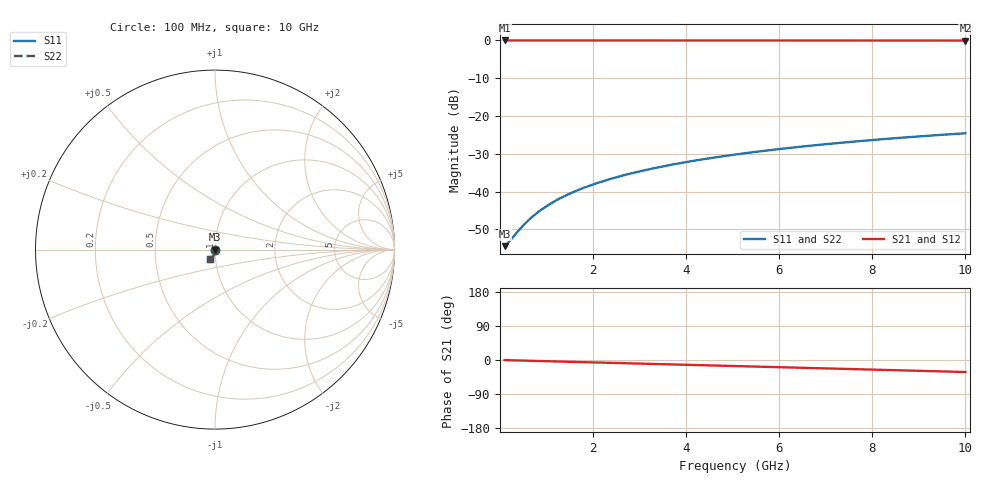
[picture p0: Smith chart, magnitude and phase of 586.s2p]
# Hz S RI R 50.00
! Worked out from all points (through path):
!   100 points, 100 MHz to 10 GHz, reference 50 ohm
!   highest |S21| = -0.02 dB at 100 MHz (marker M1); lowest = 0.0 dB at 10 GHz (marker M2)
!   group delay of S21, straight-line fit = 8.81 ps
!   lowest |S11| = -54.5 dB at 100 MHz (marker M3), VSWR 1.00, Z = 50.2 - j0.0626 ohm
!   |S11| at or under -10 dB: start of sweep to end of sweep
!   |S22| runs from -54.5 to -24.6 dB; largest |S21 - S12| = 0
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1e8  0.00179 -0.000624  0.9982 -0.0055  0.9982 -0.0055  0.00179 -0.000624
2e8  0.00179 -0.00125  0.9981 -0.011  0.9981 -0.011  0.00179 -0.00125
4e8  0.00176 -0.00249  0.9979 -0.022  0.9979 -0.022  0.00176 -0.00249
5e8  0.00173 -0.00312  0.9978 -0.0275  0.9978 -0.0275  0.00173 -0.00312
6e8  0.00169 -0.00374  0.9976 -0.033  0.9976 -0.033  0.00169 -0.00374
7e8  0.00165 -0.00436  0.9974 -0.0385  0.9974 -0.0385  0.00165 -0.00436
9e8  0.00154 -0.00561  0.9969 -0.0495  0.9969 -0.0495  0.00154 -0.00561
1.1e9  0.00141 -0.00685  0.9963 -0.0605  0.9963 -0.0605  0.00141 -0.00685
1.3e9  0.00125 -0.00809  0.9955 -0.0715  0.9955 -0.0715  0.00125 -0.00809
1.5e9  0.00106 -0.00932  0.9946 -0.0825  0.9946 -0.0825  0.00106 -0.00932
1.8e9  0.000721 -0.0112  0.9931 -0.0989  0.9931 -0.0989  0.000721 -0.0112
2.1e9  0.000323 -0.013  0.9913 -0.1153  0.9913 -0.1153  0.000323 -0.013
2.5e9  -0.000303 -0.0154  0.9884 -0.1372  0.9884 -0.1372  -0.000303 -0.0154
2.9e9  -0.00104 -0.0178  0.9851 -0.159  0.9851 -0.159  -0.00104 -0.0178
3.4e9  -0.0021 -0.0208  0.9802 -0.1861  0.9802 -0.1861  -0.0021 -0.0208
4.2e9  -0.00414 -0.0254  0.9709 -0.2292  0.9709 -0.2292  -0.00414 -0.0254
5.1e9  -0.00692 -0.0304  0.9581 -0.2772  0.9581 -0.2772  -0.00692 -0.0304
5.9e9  -0.00979 -0.0345  0.9447 -0.3193  0.9447 -0.3193  -0.00979 -0.0345
6.7e9  -0.013 -0.0384  0.9294 -0.3608  0.9294 -0.3608  -0.013 -0.0384
7.5e9  -0.0166 -0.042  0.9122 -0.4016  0.9122 -0.4016  -0.0166 -0.042
8.4e9  -0.021 -0.0457  0.8907 -0.4466  0.8907 -0.4466  -0.021 -0.0457
1e10  -0.0296 -0.0511  0.847 -0.5237  0.847 -0.5237  -0.0296 -0.0511
